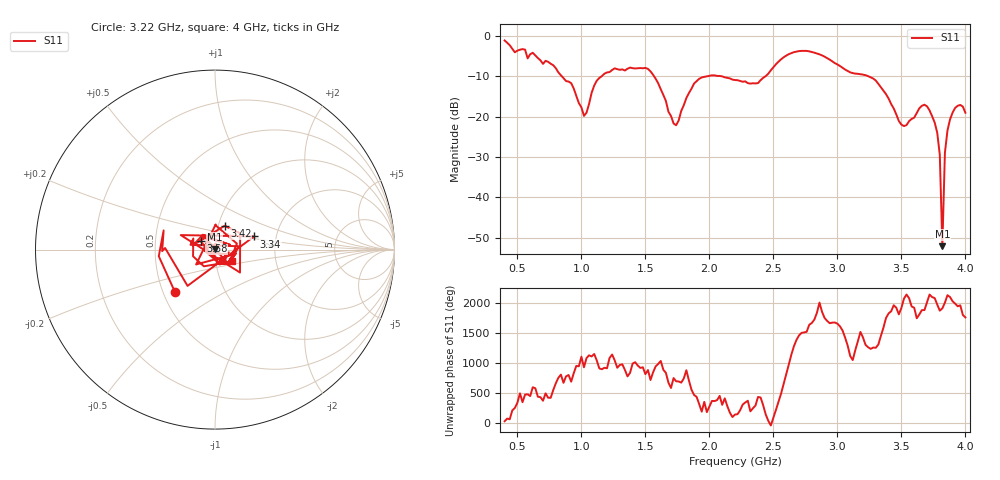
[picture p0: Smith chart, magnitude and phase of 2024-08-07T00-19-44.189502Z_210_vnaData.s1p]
!Created with skrf (http://scikit-rf.org).
# Hz S RI R 50.0
!freq ReS11 ImS11
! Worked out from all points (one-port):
!   181 points, 400 MHz to 4 GHz, reference 50 ohm
!   lowest |S11| = -52.0 dB at 3.82 GHz (marker M1), VSWR 1.01, Z = 49.9 + j0.222 ohm
!   |S11| at or under -10 dB: 1.566 GHz to 1.99 GHz (423.7 MHz wide, 23.8 % of centre); 2.087 GHz to 2.44 GHz (353.7 MHz wide, 15.6 % of centre); 3.238 GHz to end of sweep (the widest 3 of 4)
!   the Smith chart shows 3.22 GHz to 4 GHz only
!   S11 on the Smith chart (normalised r, x): 3.22 GHz: 0.58, -0.30; 3.34 GHz: 1.53, +0.24; 3.42 GHz: 1.07, +0.29; 3.58 GHz: 0.85, +0.08; 4 GHz: 1.19, -0.15
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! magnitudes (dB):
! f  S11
! 400 MHz  -1.2
! 860 MHz  -10.5
! 920 MHz  -11.7
! 1.02 GHz  -19.8
! 1.12 GHz  -11.1
! 1.3 GHz  -8.4
! 1.52 GHz  -8.2
! 1.72 GHz  -21.7
! 1.76 GHz  -21.0
! 1.92 GHz  -10.7
! 2.2 GHz  -11.0
! 2.38 GHz  -11.7
! 2.66 GHz  -4.1
! 3.1 GHz  -9.1
! 3.22 GHz  -9.8
! 3.34 GHz  -12.8
! 3.42 GHz  -16.9
! 3.5 GHz  -22.0
! 3.56 GHz  -21.1
! 3.58 GHz  -20.6
! 3.68 GHz  -17.1
! 3.78 GHz  -24.0
! 3.8 GHz  -29.5
! 3.82 GHz  -52.0
! 3.84 GHz  -28.9
! 3.86 GHz  -23.5
! 3.92 GHz  -17.9
! 4 GHz  -19.1
